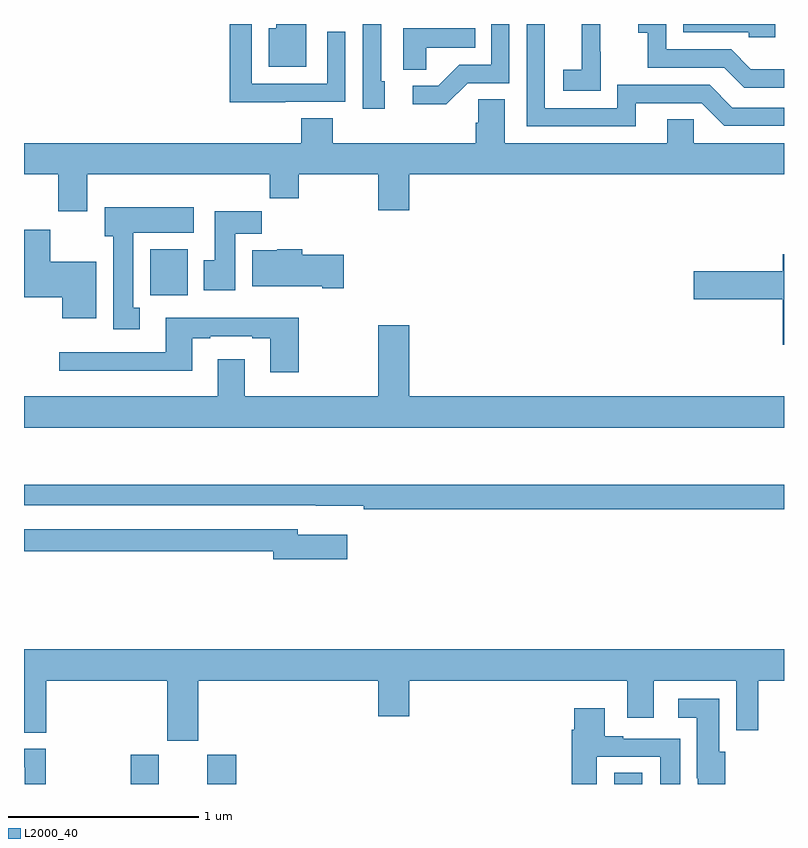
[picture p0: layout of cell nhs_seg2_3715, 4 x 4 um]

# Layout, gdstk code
import gdstk
lib = gdstk.Library(unit=1e-6, precision=1e-09)
def R(c, l, rs):  # rectangles x0, y0, x1, y1
    for r in rs: c.add(gdstk.rectangle(r[:2], r[2:], *l))
def P(c, l, *ps):  # polygons
    for p in ps: c.add(gdstk.Polygon(p, *l))
L2000_40 = (2000, 40)

nhs_seg2_3715 = lib.new_cell('nhs_seg2_3715')
R(nhs_seg2_3715, L2000_40, [(307.561,605.8,307.708,605.955), (307.964,605.8,308.117,605.955), (310.106,605.8,310.255,605.858), (307.664,608.372,307.861,608.614)])
P(nhs_seg2_3715, L2000_40, [(310.219,609.384),(310.566,609.384),(310.686,609.264),(311,609.264),(311,609.36),(310.728,609.36),(310.608,609.48),(310.122,609.48),(310.122,609.357),(309.741,609.357),(309.741,609.8),(309.645,609.8),(309.645,609.261),(310.219,609.261)],
  [(308.899,609.498),(308.88,609.498),(308.88,609.8),(308.784,609.8),(308.784,609.354),(308.899,609.354)],
  [(311,609.562),(310.826,609.562),(310.722,609.666),(310.38,609.666),(310.38,609.8),(310.233,609.8),(310.233,609.755),(310.282,609.755),(310.282,609.57),(310.685,609.57),(310.79,609.465),(311,609.465)],
  [(310.955,609.8),(310.47,609.8),(310.47,609.756),(310.815,609.756),(310.815,609.729),(310.955,609.729)],
  [(310.035,609.655),(310.034,609.655),(310.034,609.8),(309.936,609.8),(309.936,609.788),(309.935,609.788),(309.935,609.559),(309.837,609.559),(309.837,609.449),(310.035,609.449)],
  [(308.375,609.39),(308.691,609.39),(308.691,609.76),(308.595,609.76),(308.595,609.486),(308.199,609.486),(308.199,609.8),(308.083,609.8),(308.083,609.389),(308.375,609.389)],
  [(309.336,609.489),(309.555,609.489),(309.555,609.8),(309.459,609.8),(309.459,609.585),(309.29,609.585),(309.179,609.474),(309.045,609.474),(309.045,609.377),(309.223,609.377)],
  [(308.485,609.8),(308.327,609.8),(308.327,609.778),(308.288,609.778),(308.288,609.575),(308.485,609.575)],
  [(309.117,609.674),(309.374,609.674),(309.374,609.778),(308.996,609.778),(308.996,609.559),(309.117,609.559)],
  [(307.333,609.008),(308.293,609.008),(308.293,608.884),(308.445,608.884),(308.445,609.008),(308.864,609.008),(308.864,608.82),(309.028,608.82),(309.028,609.008),(311,609.008),(311,609.172),(310.524,609.172),(310.524,609.299),(310.385,609.299),(310.385,609.172),(309.529,609.172),(309.529,609.404),(309.39,609.404),(309.39,609.281),(309.377,609.281),(309.377,609.172),(308.624,609.172),(308.624,609.305),(308.459,609.305),(308.459,609.172),(307,609.172),(307,609.008),(307.181,609.008),(307.181,608.814),(307.333,608.814)],
  [(307.609,608.306),(307.576,608.306),(307.576,608.702),(307.894,608.702),(307.894,608.836),(307.424,608.836),(307.424,608.682),(307.469,608.682),(307.469,608.193),(307.609,608.193)],
  [(308.113,608.696),(308.252,608.696),(308.252,608.815),(308.003,608.815),(308.003,608.556),(307.946,608.556),(307.946,608.4),(308.113,608.4)],
  [(307.381,608.548),(307.138,608.548),(307.138,608.716),(307,608.716),(307,608.363),(307.202,608.363),(307.202,608.252),(307.381,608.252)],
  [(308.683,608.586),(308.465,608.586),(308.465,608.614),(308.334,608.614),(308.334,608.608),(308.201,608.608),(308.201,608.42),(308.57,608.42),(308.57,608.408),(308.683,608.408)],
  [(311,608.587),(310.994,608.587),(310.994,608.498),(310.524,608.498),(310.524,608.351),(310.994,608.351),(310.994,608.113),(311,608.113)],
  [(308.445,608.254),(307.745,608.254),(307.745,608.073),(307.185,608.073),(307.185,607.976),(307.885,607.976),(307.885,608.145),(307.981,608.145),(307.981,608.157),(308.201,608.157),(308.201,608.145),(308.297,608.145),(308.297,607.968),(308.445,607.968)],
  [(311,607.84),(309.028,607.84),(309.028,608.215),(308.864,608.215),(308.864,607.84),(308.161,607.84),(308.161,608.035),(308.021,608.035),(308.021,607.84),(307,607.84),(307,607.676),(311,607.676)],
  [(311,607.375),(307,607.375),(307,607.266),(308.536,607.266),(308.536,607.265),(308.788,607.265),(308.788,607.246),(311,607.246)],
  [(308.701,607.111),(308.44,607.111),(308.44,607.14),(307,607.14),(307,607.024),(308.312,607.024),(308.312,606.982),(308.701,606.982)],
  [(307.918,606.344),(308.864,606.344),(308.864,606.156),(309.028,606.156),(309.028,606.344),(310.175,606.344),(310.175,606.15),(310.315,606.15),(310.315,606.344),(310.749,606.344),(310.749,606.084),(310.865,606.084),(310.865,606.344),(311,606.344),(311,606.508),(307,606.508),(307,606.07),(307.118,606.07),(307.118,606.344),(307.754,606.344),(307.754,606.027),(307.918,606.027)],
  [(310.691,605.97),(310.66,605.97),(310.66,606.25),(310.443,606.25),(310.443,606.149),(310.541,606.149),(310.541,605.83),(310.545,605.83),(310.545,605.8),(310.691,605.8)],
  [(310.015,605.943),(310.349,605.943),(310.349,605.8),(310.453,605.8),(310.453,606.039),(310.153,606.039),(310.153,606.052),(310.057,606.052),(310.057,606.199),(309.896,606.199),(309.896,606.086),(309.884,606.086),(309.884,605.8),(310.015,605.8)],
  [(307.114,605.985),(307,605.985),(307,605.889),(307.005,605.889),(307.005,605.8),(307.114,605.8)])

lib.write_gds('nhs_seg2_3715.gds')
